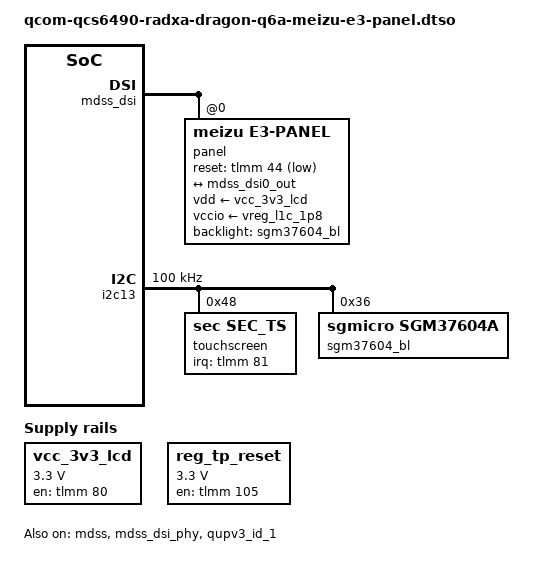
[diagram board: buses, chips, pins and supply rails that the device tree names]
// SPDX-License-Identifier: (GPL-2.0+ OR MIT)
/*
 * radxa-dragon-q6a (Qualcomm QCS6490 / mainline drm/msm) 魅族 E3 39pin
 * MIPI-DSI 屏 overlay（显示 + 触摸 + 背光）。
 *
 * 与 rock5b / a7a 同屏不同 SoC：
 *   rock5b：Rockchip BSP `simple-panel-dsi` + DPHY1 + VP3 路由
 *   a7a   ：Allwinner BSP `allwinner,panel-dsi` + virtual-panel OF-graph
 *   q6a   ：mainline drm/msm + 包内新增 OOT panel-meizu-e3（`meizu,e3-panel`）
 *
 * QCLINUX BSP 6.6.90 `drivers/gpu/drm/panel/` 91 个驱动全是一型一驱，没有
 * 通用 DSI panel driver 可用，故本变更随包发 OOT panel-meizu-e3。
 *
 * 接线依据 radxa-dragon-q6a 原理图 v1.21 sheet 31（J10 LCD MIPI 39pin FPC）：
 *
 *   信号           FPC pin   SoC net               备注
 *   ─────────────  ───────   ───────────────────   ────────────────
 *   VDD3V3         2         VCC_3V3_LCD          ← SGM2578AAD load-switch
 *                                                  由 LCD_VCC_EN (tlmm 80) 控
 *   IOVCC1V8       3         VCC_1V8              ← 板载常上电 1V8
 *   RESET          5         DISP0_RESET_N        ← tlmm 44 (active-low)
 *   DSI 4-lane     7..21     mdss_dsi0            ← 4 data lanes + clock
 *   TP-RESET       23        TS_RESET_N           ← tlmm 105（经 UM3204H 电平转换）
 *   TP-INT         25        TS_INT_N             ← tlmm 81
 *   TP-SDA/SCL     26/27     i2c13 (QUP1_SE5)     ← qupv3_id_1；触摸 + 背光共用
 *   LCD VCC3V31/32 30/31     VCC_3V3_LCD          ← 与 pin 2 并联
 *   LED-/+         35/39     VCC_LEDA/LEDK        ← 板载 SY7203 boost（本 overlay
 *                                                  不引用，与 SGM37604A 互斥）
 *
 * 背光路径选择 ⚠️：
 *   Q6A 板原理图把两条背光通道都引到 FPC：
 *     (a) 板载 SY7203DBC boost LED 驱动 → VCC_LEDA/LEDK → FPC pin 35/39 直驱
 *         屏 LED 串（EN/PWM 控制 = EDP_BLPWM ← PM7350C GPIO_08）
 *     (b) FPC pin 26/27 = i2c13 → 屏自带 SGM37604A I2C 背光芯片（panel 内部）
 *   E3 屏 LED 串接 SGM37604A 内部，FPC LED+/- 引脚悬空 → 两条通道功能互斥。
 *   本 overlay 选 (b)：不引用 EDP_BLPWM / `&pm8350c_pwm` / `&pm8350c_gpios`、
 *   不声明 `pwm-backlight`；SY7203 EN 默认悬置 → boost 不工作 → FPC LED+/-
 *   悬空安全。
 *
 * 触摸复位选 regulator-fixed 路径（与 a7a 对称、不用 gpio-hog）：
 *   sec_ts 驱动不管理 TP reset；Q6A mainline tlmm 虽然支持标准 gpio-hog，
 *   但为统一两 SoC 行为、降低维护心智，沿用 a7a 的 regulator-fixed +
 *   always-on/boot-on 在驱动注册前完成解复位。
 */

/dts-v1/;
/plugin/;

#include <dt-bindings/gpio/gpio.h>
#include <dt-bindings/interrupt-controller/irq.h>

&{/} {
	/* LCD 主供电 3V3：经板载 SGM2578AAD load-switch（U14），由 tlmm 80
	 * (LCD_VCC_EN) 控制；与 radxa-display-8hd Q6A overlay 同链路。
	 * 注意：vin-supply 不引用 &vcc_3v3——QCLINUX BSP base dts 不声明
	 * 该 label（mainline radxa 分支有，BSP 无）；板上 VCC_3V3 是 SY7120RAC
	 * buck 输出的 always-on 板载固定 rail，DT 不建模即可。 */
	vcc_3v3_lcd: vcc-3v3-lcd-regulator {
		compatible = "regulator-fixed";
		regulator-name = "vcc_3v3_lcd";
		regulator-min-microvolt = <3300000>;
		regulator-max-microvolt = <3300000>;
		gpio = <&tlmm 80 GPIO_ACTIVE_HIGH>;
		enable-active-high;
		/* always-on + boot-on：触摸 IC（i2c-13 0x48 sec_ts）实际供电链路
		 * 是 VCC_3V3_LCD rail → FPC pin 2 → panel 模组内 sec_ts IC，但
		 * sec_ts 驱动是 OEM 老代码不调 regulator_get/enable、节点本身也
		 * 没 vdd-supply 表达此依赖（驱动加了也没人消费）。VCC_3V3_LCD 名
		 * 义上由 panel@0 的 vdd-supply 引用，但 panel_meizu_e3 只在
		 * `.prepare`（DRM modeset 时）才 regulator_enable(vdd)，时机远
		 * 晚于 sec_ts probe → sec_ts probe 时触摸 IC 还没电 → i2c 0x48
		 * 无 ACK（-ENXIO）→ probe 失败。
		 * 故 boot-on + always-on：regulator core 起来即拉高 tlmm 80，rail
		 * 在 sec_ts probe 前已稳定上电。panel 的 enable/disable ref-count
		 * 仍正常工作（仅不会真关 rail，bringup 阶段可接受；后续要做精细
		 * 电源策略时再让 sec_ts 节点声明 vdd-supply 并改 sec_ts 驱动主动
		 * 消费）。a7a 之所以无此问题：a7a 的 panel power0/1 走 reg_dc1sw1
		 * / reg_bldo2，是 Allwinner BSP 系统级 rail（近似 always-on），
		 * sec_ts probe 时已有电。 */
		regulator-always-on;
		regulator-boot-on;
	};

	/* TP-RST = tlmm 105：sec_ts 驱动不管理 reset，用 regulator-fixed
	 * （always-on + boot-on）在驱动注册时把 tlmm 105 拉高解复位。
	 * 与 a7a 同款做法（参见 [[meizu-e3-panel]] radxa-cubie-a7a 章节）。 */
	reg_tp_reset: tp-reset-deassert {
		compatible = "regulator-fixed";
		regulator-name = "tp-reset-deassert";
		regulator-min-microvolt = <3300000>;
		regulator-max-microvolt = <3300000>;
		gpio = <&tlmm 105 GPIO_ACTIVE_HIGH>;
		enable-active-high;
		regulator-always-on;
		regulator-boot-on;
	};
};

&mdss {
	status = "okay";
};

&mdss_dsi {
	vdda-supply = <&vreg_l6b_1p2>;
	#address-cells = <1>;
	#size-cells = <0>;
	status = "okay";

	panel@0 {
		compatible = "meizu,e3-panel";
		reg = <0>;

		vdd-supply = <&vcc_3v3_lcd>;
		/* vccio 取 PMIC PM7325 LDO L1C（1.8V，PMIC 直出）——QCLINUX BSP
		 * 不声明聚合 vcc_1v8 label，直接挂源 LDO 即可（FPC pin 3 IOVCC1V8
		 * 经 R312 0R 接板上 1V8 rail，L1C 也供给其他在树消费者，always-on）。 */
		vccio-supply = <&vreg_l1c_1p8>;
		reset-gpios = <&tlmm 44 GPIO_ACTIVE_LOW>;

		/* 背光指向屏自带的 SGM37604A I2C 芯片（见 &i2c13 下 backlight@36） */
		backlight = <&sgm37604_bl>;

		pinctrl-names = "default";
		pinctrl-0 = <&lcd_panel_reset>;

		ports {
			#address-cells = <1>;
			#size-cells = <0>;

			port@0 {
				reg = <0>;
				panel_in: endpoint {
					remote-endpoint = <&mdss_dsi0_out>;
				};
			};
		};
	};
};

&mdss_dsi0_out {
	remote-endpoint = <&panel_in>;
	data-lanes = <0 1 2 3>;
};

&mdss_dsi_phy {
	vdds-supply = <&vreg_l10c_0p88>;
	status = "okay";
};

&qupv3_id_1 {
	status = "okay";
};

/* i2c13 = QUP1_SE5：触摸 sec_ts @ 0x48 + 屏自带背光 sgm37604a @ 0x36 共用 */
&i2c13 {
	clock-frequency = <100000>;
	#address-cells = <1>;
	#size-cells = <0>;
	status = "okay";

	/* 注：mainline（radxa/kernel@linux-6.18.2）`i2c-qcom-geni.c` 在
	 * `geni_se_read_proto()` 返回 `GENI_SE_INVALID_PROTO` 时**自动**调
	 * `geni_load_se_firmware(&gi2c->se, GENI_SE_I2C)`，不再依赖 BSP 时代的
	 * `qcom,load-firmware` DT 属性（驱动根本不读它）；且 `&i2c13` 已在 base
	 * board dts 中 `status="okay"`（含 `qcom,enable-gsi-dma`），本 overlay 仅
	 * 往该节点追加触摸/背光子节点。故不再声明 `qcom,load-firmware`。 */

	touchscreen@48 {
		compatible = "sec,sec_ts";
		reg = <0x48>;
		/* sec_ts 驱动用自家 `sec,irq_gpio` 属性（`of_get_named_gpio` + 内部
		 * `gpio_to_irq`）而非 i2c 子系统的 `interrupts-extended`；后者写了
		 * 无害但驱动不读，前者缺则 `Failed to get irq gpio` probe -EINVAL。
		 * gpio cell 顺序 = <控制器 引脚 flags>；flags 由 sec_ts 内部固定为
		 * IRQF_TRIGGER_LOW | IRQF_ONESHOT，DT flags 占位即可。 */
		sec,irq_gpio = <&tlmm 81 0>;
		pinctrl-names = "default";
		pinctrl-0 = <&ts_int_conn>, <&ts_rst_conn>;
		sec,max_coords = <1080>, <2160>;
		/* 跳过开机软复位+强刷固件流程：a7a 实板验证 SW_RESET 后 sec_ts 与
		 * 0x48 的 I2C 通信无法恢复，需跳过；Q6A i2c-geni 行为虽未必相同，
		 * 但跳过本身对功能无副作用（panel 自带固件无需 host 刷写），稳态优先。 */
		sec,skip-fw-update-on-probe;
		/* sec_ts 驱动不解析 reset-gpios；TP-RST 由 reg_tp_reset
		 * regulator-fixed 在驱动注册前完成解复位（见 / 下声明）。 */
	};

	sgm37604_bl: backlight@36 {
		compatible = "sgmicro,sgm37604a";
		reg = <0x36>;
		/* 沿用 a7a 实板调好的亮度参数；E3 屏自带 SGM37604A
		 * 内部直驱 LED 串，无外部 enable gpio（Q6A FPC 不引出）。 */
		led-channels = <0x0f>;
		max-current = <40000>;
		default-brightness-level = <2048>;
	};
};

&tlmm {
	lcd_panel_reset: lcd-panel-reset-state {
		pins = "gpio44";
		function = "gpio";
		drive-strength = <8>;
		bias-disable;
	};

	ts_int_conn: ts-int-conn-state {
		pins = "gpio81";
		function = "gpio";
		bias-disable;
	};

	ts_rst_conn: ts-rst-conn-state {
		pins = "gpio105";
		function = "gpio";
		drive-strength = <2>;
		bias-disable;
	};
};
